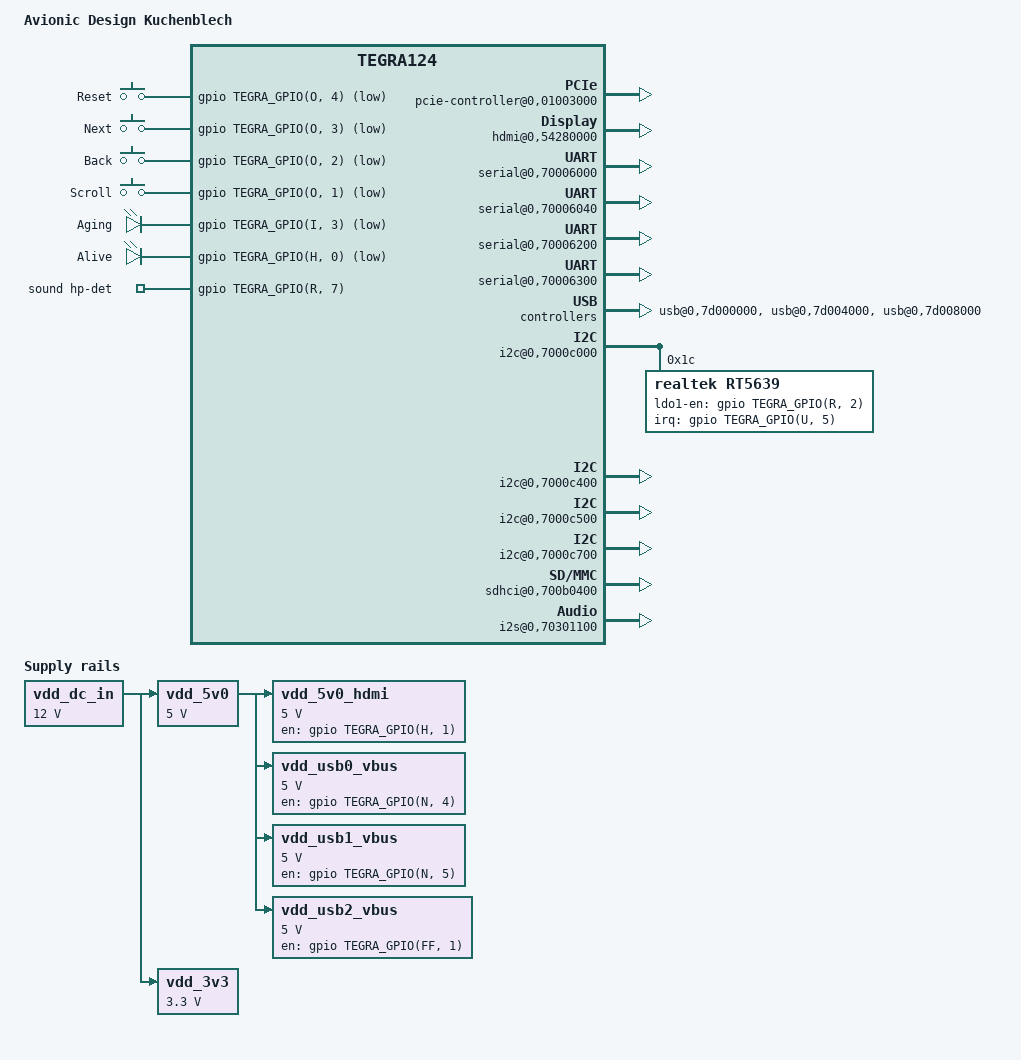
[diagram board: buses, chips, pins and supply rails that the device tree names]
/dts-v1/;

#include <dt-bindings/input/input.h>
#include "tegra124-meerkat.dtsi"

/ {
	model = "Avionic Design Kuchenblech";
	compatible = "ad,kuchenblech", "ad,meerkat", "nvidia,tegra124";

	chosen {
		stdout-path = "/serial@0,70006300";
	};

	pcie-controller@0,01003000 {
		status = "okay";

		pci@1,0 {
			status = "okay";
		};

		pci@2,0 {
			status = "okay";
		};
	};

	/* HDMI */
	host1x@0,50000000 {
		hdmi@0,54280000 {
			status = "okay";
			hdmi-supply = <&vdd_5v0_hdmi>;
		};
	};

	pinmux@0,70000868 {
		/* UART2 CTS is used as GPO */
		uart2_cts_n_pj5 {
			nvidia,pull = <TEGRA_PIN_PULL_NONE>;
			nvidia,enable-input = <TEGRA_PIN_DISABLE>;
		};
	};

	/* Serial ports */
	serial@0,70006000 {
		status = "okay";
	};

	serial@0,70006040 {
		status = "okay";
	};

	serial@0,70006200 {
		status = "okay";
		has-hw-flow-control;
	};

	serial@0,70006300 {
		status = "okay";
		has-hw-flow-control;
	};

	/* USB-MINI */
	usb@0,7d000000 {
		status = "okay";
	};

	usb-phy@0,7d000000 {
		status = "okay";
		dr_mode = "otg";
		vbus-supply = <&vdd_usb0_vbus>;
	};

	/* USB 2.0 */
	usb@0,7d004000 {
		status = "okay";
	};

	usb-phy@0,7d004000 {
		status = "okay";
		vbus-supply = <&vdd_usb1_vbus>;
	};

	/* USB 3.0 */
	usb@0,7d008000 {
		status = "okay";
	};

	usb-phy@0,7d008000 {
		status = "okay";
		vbus-supply = <&vdd_usb2_vbus>;
	};

	/* GEN1 I2c */
	i2c@0,7000c000 {
		status = "okay";

		rt5639: audio-codec@1c {
			compatible = "realtek,rt5639";
			reg = <0x1c>;
			interrupt-parent = <&gpio>;
			interrupts = <TEGRA_GPIO(U, 5) GPIO_ACTIVE_HIGH>;
			realtek,ldo1-en-gpios =
				<&gpio TEGRA_GPIO(R, 2) GPIO_ACTIVE_HIGH>;
		};
	};

	/* Expansion GEN2_I2C_* */
	i2c@0,7000c400 {
		status = "okay";
	};

	/* Expansion CAM_I2C_* */
	i2c@0,7000c500 {
		status = "okay";
	};

	/* HDMI DDC */
	i2c@0,7000c700 {
		status = "okay";
	};

	/* SD card */
	sdhci@0,700b0400 {
		status = "okay";
	};

	/* I2S */
	ahub@0,70300000 {
		i2s@0,70301100 {
			status = "okay";
		};
	};

	gpio-keys {
		compatible = "gpio-keys";

		reset {
			label = "Reset";
			gpios = <&gpio TEGRA_GPIO(O, 4) GPIO_ACTIVE_LOW>;
			linux,code = <KEY_POWER>;
			debounce-interval = <10>;
		};

		next {
			label = "Next";
			gpios = <&gpio TEGRA_GPIO(O, 3) GPIO_ACTIVE_LOW>;
			linux,code = <KEY_FORWARD>;
			debounce-interval = <10>;
		};

		back {
			label = "Back";
			gpios = <&gpio TEGRA_GPIO(O, 2) GPIO_ACTIVE_LOW>;
			linux,code = <KEY_BACK>;
			debounce-interval = <10>;
		};

		scroll {
			label = "Scroll";
			gpios = <&gpio TEGRA_GPIO(O, 1) GPIO_ACTIVE_LOW>;
			linux,code = <KEY_SCROLLLOCK>;
			debounce-interval = <10>;
		};
	};

	gpio-leds {
		compatible = "gpio-leds";

		aging {
			label = "Aging";
			gpios = <&gpio TEGRA_GPIO(I, 3) GPIO_ACTIVE_LOW>;
		};

		soc_alive {
			label = "Alive";
			gpios = <&gpio TEGRA_GPIO(H, 0) GPIO_ACTIVE_LOW>;
			linux,default-trigger = "heartbeat";
		};
	};

	sound {
		compatible = "ad,tegra-audio-rt5640-kbl",
			     "nvidia,tegra-audio-rt5640-jetson-tk1",
			     "nvidia,tegra-audio-rt5640";
		nvidia,model = "Avionic Design Kuchenblech";

		nvidia,audio-routing =
			"Headphones", "HPOR",
			"Headphones", "HPOL",
			"Mic Jack", "MICBIAS1",
			"IN2P", "Mic Jack";

		nvidia,i2s-controller = <&tegra_i2s1>;
		nvidia,audio-codec = <&rt5639>;

		nvidia,hp-det-gpios = <&gpio TEGRA_GPIO(R, 7) GPIO_ACTIVE_HIGH>;

		clocks = <&tegra_car TEGRA124_CLK_PLL_A>,
			 <&tegra_car TEGRA124_CLK_PLL_A_OUT0>,
			 <&tegra_car TEGRA124_CLK_EXTERN1>;
		clock-names = "pll_a", "pll_a_out0", "mclk";
	};

	regulators {
		vdd_dc_in: regulator@99 {
			compatible = "regulator-fixed";
			reg = <99>;
			regulator-name = "+VDD_DC_IN";
			regulator-min-microvolt = <12000000>;
			regulator-max-microvolt = <12000000>;
			regulator-always-on;
			regulator-boot-on;
		};

		vdd_5v0: regulator@100 {
			compatible = "regulator-fixed";
			reg = <100>;
			regulator-name = "+VDD_5V";
			regulator-min-microvolt = <5000000>;
			regulator-max-microvolt = <5000000>;
			regulator-always-on;
			regulator-boot-on;
			vin-supply = <&vdd_dc_in>;
		};

		vdd_3v3: regulator@101 {
			compatible = "regulator-fixed";
			reg = <101>;
			regulator-name = "+VDD_3V3";
			regulator-min-microvolt = <3300000>;
			regulator-max-microvolt = <3300000>;
			regulator-always-on;
			regulator-boot-on;
			vin-supply = <&vdd_dc_in>;
		};

		vdd_5v0_hdmi: regulator@102 {
			compatible = "regulator-fixed";
			reg = <102>;
			regulator-name = "+VDD_5V_HDMI_CON";
			regulator-min-microvolt = <5000000>;
			regulator-max-microvolt = <5000000>;
			gpio = <&gpio TEGRA_GPIO(H, 1) GPIO_ACTIVE_HIGH>;
			enable-active-high;
			vin-supply = <&vdd_5v0>; // TODO: Check with HW
		};

		vdd_usb0_vbus: regulator@103 {
			compatible = "regulator-fixed";
			reg = <103>;
			regulator-name = "+USB0_VBUS";
			regulator-min-microvolt = <5000000>;
			regulator-max-microvolt = <5000000>;
			gpio = <&gpio TEGRA_GPIO(N, 4) GPIO_ACTIVE_HIGH>;
			enable-active-high;
			gpio-open-drain;
			vin-supply = <&vdd_5v0>;
		};

		vdd_usb1_vbus: regulator@104 {
			compatible = "regulator-fixed";
			reg = <104>;
			regulator-name = "+USB1_VBUS";
			regulator-min-microvolt = <5000000>;
			regulator-max-microvolt = <5000000>;
			gpio = <&gpio TEGRA_GPIO(N, 5) GPIO_ACTIVE_HIGH>;
			enable-active-high;
			gpio-open-drain;
			vin-supply = <&vdd_5v0>;
		};

		vdd_usb2_vbus: regulator@105 {
			compatible = "regulator-fixed";
			reg = <105>;
			regulator-name = "+USB2_VBUS";
			regulator-min-microvolt = <5000000>;
			regulator-max-microvolt = <5000000>;
			gpio = <&gpio TEGRA_GPIO(FF, 1) GPIO_ACTIVE_HIGH>;
			enable-active-high;
			gpio-open-drain;
			vin-supply = <&vdd_5v0>;
		};
	};
};
